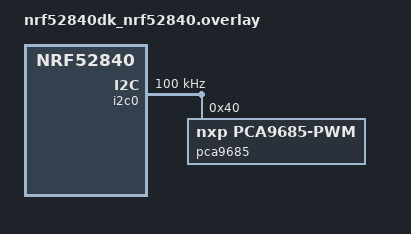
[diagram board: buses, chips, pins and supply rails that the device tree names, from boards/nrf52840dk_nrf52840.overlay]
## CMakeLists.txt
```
cmake_minimum_required(VERSION 3.20.0)

find_package(Zephyr REQUIRED HINTS $ENV{ZEPHYR_BASE})

project(spider)

target_include_directories(app PRIVATE include)
target_sources(app PRIVATE
	src/main.c
	src/kame_servo_cal.c
	src/kame_pose.c
	src/kame_motion.c
	src/spider_servo.c
	src/spider_control.c
	src/ble_remote.c
)
```

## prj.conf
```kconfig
CONFIG_GPIO=y
CONFIG_I2C=y
CONFIG_PWM=y

CONFIG_SERIAL=y
CONFIG_CONSOLE=y
CONFIG_UART_CONSOLE=y

# UART 交互 shell
CONFIG_SHELL=y
CONFIG_SHELL_BACKEND_SERIAL=y

CONFIG_LOG=y
CONFIG_PWM_LOG_LEVEL_INF=y

# BLE 遥控（SpiderBod）
CONFIG_BT=y
CONFIG_BT_PERIPHERAL=y
CONFIG_BT_DEVICE_NAME="SpiderBod"
CONFIG_BT_MAX_CONN=1
CONFIG_BT_GATT_DYNAMIC_DB=y
```

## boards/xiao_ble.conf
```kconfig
# XIAO BLE：板级 defconfig 已启用 USB；此处补充 CDC 控制台所需项
CONFIG_UART_LINE_CTRL=y
```

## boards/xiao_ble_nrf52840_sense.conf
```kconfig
# XIAO BLE Sense — 与 xiao_ble 相同
CONFIG_UART_LINE_CTRL=y
```

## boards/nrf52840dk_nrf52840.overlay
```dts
/*
 * spider: PCA9685 16 通道 PWM 驱动板挂载在 I2C0
 *
 * nRF52840 DK 的 i2c0 默认引脚即 P0.26 (SDA) / P0.27 (SCL)，
 * 与实际接线一致，无需重映射 pinctrl。
 * PCA9685 地址引脚 A0-A5 全接 GND => 0x40。
 */

&i2c0 {
	status = "okay";
	clock-frequency = <100000>;

	pca9685: pca9685@40 {
		compatible = "nxp,pca9685-pwm";
		reg = <0x40>;
		#pwm-cells = <2>;
		status = "okay";
	};
};
```

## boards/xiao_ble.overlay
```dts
/*
 * spider on Seeed XIAO BLE (nRF52840)
 *
 * PCA9685 挂在板载 I2C1（xiao_i2c = D4/D5）：
 *   D4 (SDA) = P0.4
 *   D5 (SCL) = P0.5
 *
 * 注意：P0.26 为板载红灯，勿作 I2C SDA。
 * PCA9685 地址 A0-A5 全接 GND => 0x40。
 * Shell 控制台走 USB CDC（Type-C），见 boards/xiao_ble.conf。
 */

&i2c1 {
	status = "okay";
	clock-frequency = <100000>;

	pca9685: pca9685@40 {
		compatible = "nxp,pca9685-pwm";
		reg = <0x40>;
		#pwm-cells = <2>;
		status = "okay";
	};
};
```

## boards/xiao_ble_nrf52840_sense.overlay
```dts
/*
 * spider on Seeed XIAO BLE Sense (nRF52840)
 *
 * I2C 引脚与 xiao_ble 相同：D4 (SDA)=P0.4, D5 (SCL)=P0.5。
 */

&i2c1 {
	status = "okay";
	clock-frequency = <100000>;

	pca9685: pca9685@40 {
		compatible = "nxp,pca9685-pwm";
		reg = <0x40>;
		#pwm-cells = <2>;
		status = "okay";
	};
};
```

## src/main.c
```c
/*
 * spider - 串口交互控制 PCA9685 舵机（多通道 + 平滑运动）+ BLE 遥控
 *
 * I2C 总线与引脚由板级 overlay 定义（DK: i2c0 P0.26/P0.27；XIAO: i2c1 D4/D5）。
 * PCA9685 地址 0x40。
 *
 * Shell 命令（DK: J-Link vcom 115200；XIAO: USB CDC，支持 Tab 补全）：
 *
 *   spider scan                     扫描 I2C 总线
 *   spider check [addr]             读 PCA9685 MODE1/MODE2 寄存器
 *   spider servo <ch> <us>          设通道脉宽（微秒）
 *   angle <ch> <deg>                设通道角度（0~180，顶层命令，无 spider 前缀）
 *   spider multi <ch:deg> ...       多通道同步设角度，如 spider multi 0:90 4:45
 *   spider all <deg>                所有已激活通道设同一角度
 *   spider move <ch> <deg> <ms>     在指定时长内匀速转到目标角度
 *   spider speed [deg_per_s]        查看/设置全局速度限制（0=瞬时）
 *   spider status                   显示各通道状态
 *   spider off <ch>                 关闭单通道
 *   spider offall                   关闭全部通道
 *   spider stand                    Kame 进入标准站姿（按标定表）
 *   spider splay [delta]            Kame 叉腿站立（前腿前/后腿后，默认 30°）
 *
 * Motion Framework 顶层命令（动作序列 + FSM，无前缀，便于串口输入）：
 *   stand / splay                   静态姿态
 *   lift <L1|R1|L2|R2>              抬腿并保持（先进 TRIPOD，静态）
 *   wave <L1|R1|L2|R2>              招手（循环；stop 恢复立正）
 *   front_down/rear_down/full_down  趴下
 *   forward/backward                行走（循环）
 *   turn_left/turn_right            弧线转向（循环）
 *   spin_left/spin_right            原地旋转（循环）
 *   nod / shake / roll              机身摆动（循环）
 *   speed [ms]                      查看/设置动作节拍 motion_step_delay_ms
 *   stop                            停止当前动作并恢复立正
 *
 * BLE：广播名 SpiderBod，GATT cmd 写入等价于上述动作/速度命令。
 */

#include <zephyr/kernel.h>
#include <zephyr/device.h>
#include <zephyr/devicetree.h>
#include <zephyr/drivers/i2c.h>
#include <zephyr/shell/shell.h>
#include <zephyr/sys/printk.h>
#include <stdlib.h>
#include <string.h>

#include "ble_remote.h"
#include "kame_servo_cal.h"
#include "kame_pose.h"
#include "kame_motion.h"
#include "spider_control.h"
#include "spider_servo.h"

#define KAME_SPLAY_DEFAULT_DEG 30U

#define PCA9685_DEFAULT_ADDR 0x40
#define PCA9685_REG_MODE1    0x00
#define PCA9685_REG_MODE2    0x01

#define MOTION_TICK_MS 20U

static const struct device *i2c_bus =
	DEVICE_DT_GET(DT_BUS(DT_NODELABEL(pca9685)));

static int servo_set_target_shell(const struct shell *sh, uint32_t ch,
				  uint32_t pulse_us, uint16_t step_us)
{
	if (!spider_servo_is_ready()) {
		shell_error(sh, "PCA9685 driver not ready（先 spider scan 排查，"
				"接好线后按 RESET）");
		return -ENODEV;
	}
	if (ch >= SPIDER_SERVO_CHANNEL_CNT) {
		shell_error(sh, "channel %u out of range (0~15)", ch);
		return -EINVAL;
	}

	int ret = spider_servo_set_target(ch, pulse_us, step_us);

	if (ret != 0) {
		shell_error(sh, "pwm_set failed: %d", ret);
	} else {
		shell_print(sh, "ch%u -> %u us (%u deg)%s", ch, pulse_us,
			    spider_servo_us_to_deg(pulse_us),
			    step_us ? "" : " [instant]");
	}
	return ret;
}

static int servo_off_shell(const struct shell *sh, uint32_t ch)
{
	int ret;

	if (ch >= SPIDER_SERVO_CHANNEL_CNT) {
		shell_error(sh, "channel %u out of range (0~15)", ch);
		return -EINVAL;
	}

	ret = spider_servo_off(ch);
	if (ret != 0) {
		shell_error(sh, "pwm_set failed: %d", ret);
	} else {
		shell_print(sh, "ch%u off", ch);
	}
	return ret;
}

/* ---------------- I2C 诊断命令 ---------------- */

static bool i2c_addr_present(uint8_t addr)
{
	uint8_t dummy;

	return i2c_read(i2c_bus, &dummy, 1, addr) == 0;
}

static int cmd_scan(const struct shell *sh, size_t argc, char **argv)
{
	int found = 0;

	ARG_UNUSED(argc);
	ARG_UNUSED(argv);

	if (!device_is_ready(i2c_bus)) {
		shell_error(sh, "I2C bus not ready");
		return -ENODEV;
	}

	shell_print(sh, "Scanning I2C (%s) 0x03..0x77 ...", i2c_bus->name);
	shell_print(sh, "     0  1  2  3  4  5  6  7  8  9  a  b  c  d  e  f");

	for (uint8_t base = 0; base <= 0x70; base += 16) {
		char line[64];
		int pos = snprintf(line, sizeof(line), "%02x:", base);

		for (uint8_t off = 0; off < 16; off++) {
			uint8_t addr = base + off;

			if (addr < 0x03 || addr > 0x77) {
				pos += snprintf(line + pos, sizeof(line) - pos, "   ");
			} else if (i2c_addr_present(addr)) {
				pos += snprintf(line + pos, sizeof(line) - pos, " %02x", addr);
				found++;
			} else {
				pos += snprintf(line + pos, sizeof(line) - pos, " --");
			}
		}
		shell_print(sh, "%s", line);
	}

	if (found == 0) {
		shell_warn(sh, "No I2C device found!");
	} else {
		shell_print(sh, "Found %d device(s).%s", found,
			    i2c_addr_present(PCA9685_DEFAULT_ADDR) ?
			    " PCA9685 @0x40 online." : "");
	}
	return 0;
}

static int cmd_check(const struct shell *sh, size_t argc, char **argv)
{
	uint8_t addr = PCA9685_DEFAULT_ADDR;
	uint8_t mode1, mode2, reg;
	int ret;

	if (argc > 1) {
		addr = (uint8_t)strtoul(argv[1], NULL, 0);
	}

	reg = PCA9685_REG_MODE1;
	ret = i2c_write_read(i2c_bus, addr, &reg, 1, &mode1, 1);
	if (ret != 0) {
		shell_error(sh, "Read MODE1 @0x%02x failed: %d", addr, ret);
		return ret;
	}
	reg = PCA9685_REG_MODE2;
	ret = i2c_write_read(i2c_bus, addr, &reg, 1, &mode2, 1);
	if (ret != 0) {
		shell_error(sh, "Read MODE2 @0x%02x failed: %d", addr, ret);
		return ret;
	}

	shell_print(sh, "PCA9685 @0x%02x: MODE1=0x%02x MODE2=0x%02x", addr, mode1, mode2);
	shell_print(sh, "  AI=%d SLEEP=%d RESTART=%d | OUTDRV=%s",
		    !!(mode1 & BIT(5)), !!(mode1 & BIT(4)), !!(mode1 & BIT(7)),
		    (mode2 & BIT(2)) ? "totem-pole" : "open-drain");
	return 0;
}

/* ---------------- 舵机命令 ---------------- */

static int cmd_servo(const struct shell *sh, size_t argc, char **argv)
{
	uint32_t ch = strtoul(argv[1], NULL, 0);
	uint32_t us = strtoul(argv[2], NULL, 0);

	return servo_set_target_shell(sh, ch, us, spider_servo_speed_to_step());
}

static int cmd_angle(const struct shell *sh, size_t argc, char **argv)
{
	uint32_t ch = strtoul(argv[1], NULL, 0);
	uint32_t deg = strtoul(argv[2], NULL, 0);

	if (deg > 180) {
		shell_error(sh, "angle %u out of range (0~180)", deg);
		return -EINVAL;
	}
	return servo_set_target_shell(sh, ch, spider_servo_deg_to_us(deg),
				      spider_servo_speed_to_step());
}

static int cmd_multi(const struct shell *sh, size_t argc, char **argv)
{
	int ret = 0;

	for (size_t i = 1; i < argc; i++) {
		char *colon = strchr(argv[i], ':');

		if (colon == NULL) {
			shell_error(sh, "bad arg '%s' (expect <ch>:<deg>)", argv[i]);
			return -EINVAL;
		}

		uint32_t ch = strtoul(argv[i], NULL, 0);
		uint32_t deg = strtoul(colon + 1, NULL, 0);

		if (deg > 180) {
			shell_error(sh, "angle %u out of range (0~180)", deg);
			return -EINVAL;
		}

		ret = servo_set_target_shell(sh, ch, spider_servo_deg_to_us(deg),
					     spider_servo_speed_to_step());
		if (ret != 0) {
			break;
		}
	}
	return ret;
}

static int cmd_all(const struct shell *sh, size_t argc, char **argv)
{
	uint32_t deg = strtoul(argv[1], NULL, 0);
	int count = 0;
	struct spider_servo_chan_state st;

	if (deg > 180) {
		shell_error(sh, "angle %u out of range (0~180)", deg);
		return -EINVAL;
	}

	for (uint32_t ch = 0; ch < SPIDER_SERVO_CHANNEL_CNT; ch++) {
		if (spider_servo_get_chan(ch, &st) && st.active) {
			servo_set_target_shell(sh, ch, spider_servo_deg_to_us(deg),
					       spider_servo_speed_to_step());
			count++;
		}
	}
	if (count == 0) {
		shell_warn(sh, "no active channel yet (use angle/servo first)");
	}
	return 0;
}

static int cmd_move(const struct shell *sh, size_t argc, char **argv)
{
	uint32_t ch = strtoul(argv[1], NULL, 0);
	uint32_t deg = strtoul(argv[2], NULL, 0);
	uint32_t ms = strtoul(argv[3], NULL, 0);
	struct spider_servo_chan_state st;

	if (deg > 180) {
		shell_error(sh, "angle %u out of range (0~180)", deg);
		return -EINVAL;
	}
	if (ch >= SPIDER_SERVO_CHANNEL_CNT) {
		shell_error(sh, "channel %u out of range (0~15)", ch);
		return -EINVAL;
	}

	uint32_t tgt = spider_servo_deg_to_us(deg);
	uint16_t step = 0;

	if (ms >= MOTION_TICK_MS && spider_servo_get_chan(ch, &st) && st.active) {
		uint32_t ticks = ms / MOTION_TICK_MS;
		uint32_t dist = (st.cur_us > tgt) ? st.cur_us - tgt : tgt - st.cur_us;

		step = MAX(DIV_ROUND_UP(dist, ticks), 1U);
	}
	return servo_set_target_shell(sh, ch, tgt, step);
}

static int cmd_speed(const struct shell *sh, size_t argc, char **argv)
{
	uint32_t speed = spider_control_get_servo_speed_deg_s();

	if (argc > 1) {
		speed = strtoul(argv[1], NULL, 0);
		spider_control_set_servo_speed_deg_s(speed);
	}
	if (speed == 0) {
		shell_print(sh, "speed: instant");
	} else {
		shell_print(sh, "speed: %u deg/s", speed);
	}
	return 0;
}

static int cmd_status(const struct shell *sh, size_t argc, char **argv)
{
	int count = 0;
	uint32_t speed = spider_control_get_servo_speed_deg_s();

	ARG_UNUSED(argc);
	ARG_UNUSED(argv);

	shell_print(sh, "PCA9685 driver: %s | speed: %u deg/s%s",
		    spider_servo_is_ready() ? "ready" : "NOT READY",
		    speed, speed == 0 ? " (instant)" : "");

	for (uint32_t ch = 0; ch < SPIDER_SERVO_CHANNEL_CNT; ch++) {
		struct spider_servo_chan_state c;

		if (!spider_servo_get_chan(ch, &c) || !c.active) {
			continue;
		}
		shell_print(sh, "  ch%-2u cur=%4u us (%3u deg)  tgt=%4u us (%3u deg)%s",
			    ch, c.cur_us, spider_servo_us_to_deg(c.cur_us),
			    c.tgt_us, spider_servo_us_to_deg(c.tgt_us),
			    c.moving ? "  [moving]" : "");
		count++;
	}
	if (count == 0) {
		shell_print(sh, "  (no active channel)");
	}
	return 0;
}

static int cmd_off(const struct shell *sh, size_t argc, char **argv)
{
	return servo_off_shell(sh, strtoul(argv[1], NULL, 0));
}

static int cmd_offall(const struct shell *sh, size_t argc, char **argv)
{
	struct spider_servo_chan_state st;

	ARG_UNUSED(argc);
	ARG_UNUSED(argv);

	for (uint32_t ch = 0; ch < SPIDER_SERVO_CHANNEL_CNT; ch++) {
		if (spider_servo_get_chan(ch, &st) && st.active) {
			servo_off_shell(sh, ch);
		}
	}
	return 0;
}

/* ---------------- Kame 整机姿态命令 ---------------- */

static int kame_apply_pose(const struct shell *sh, bool splay, uint8_t delta)
{
	if (!spider_servo_is_ready()) {
		shell_error(sh, "PCA9685 driver not ready（先 spider scan 排查，"
				"接好线后按 RESET）");
		return -ENODEV;
	}

	uint16_t step = spider_servo_speed_to_step();

	for (size_t i = 0; i < KAME_SERVO_COUNT; i++) {
		const struct kame_servo_cal *s = &kame_servos[i];
		uint8_t deg = splay ? kame_servo_splay_deg((kame_servo_id_t)i, delta)
				    : s->stand_deg;

		servo_set_target_shell(sh, s->ch, spider_servo_deg_to_us(deg), step);
	}
	return 0;
}

static int cmd_stand(const struct shell *sh, size_t argc, char **argv)
{
	ARG_UNUSED(argc);
	ARG_UNUSED(argv);

	shell_print(sh, "Kame -> 标准站姿");
	return kame_apply_pose(sh, false, 0);
}

static int cmd_splay(const struct shell *sh, size_t argc, char **argv)
{
	uint32_t delta = KAME_SPLAY_DEFAULT_DEG;

	if (argc > 1) {
		delta = strtoul(argv[1], NULL, 0);
		if (delta > 90) {
			shell_error(sh, "delta %u out of range (0~90)", delta);
			return -EINVAL;
		}
	}

	shell_print(sh, "Kame -> 叉腿站立（前腿前 / 后腿后，髋 ±%u°）", delta);
	return kame_apply_pose(sh, true, (uint8_t)delta);
}

/* ---------------- Motion Framework 命令 ---------------- */

static int cmd_motion_speed(const struct shell *sh, size_t argc, char **argv)
{
	if (argc > 1) {
		uint32_t ms = strtoul(argv[1], NULL, 0);

		if (ms == 0) {
			shell_error(sh, "delay must be > 0 ms");
			return -EINVAL;
		}
		spider_control_set_motion_delay_ms(ms);
	}
	shell_print(sh, "motion_step_delay_ms = %u",
		    spider_control_get_motion_delay_ms());
	return 0;
}

static int cmd_motion_stop(const struct shell *sh, size_t argc, char **argv)
{
	ARG_UNUSED(argc);
	ARG_UNUSED(argv);

	spider_control_stop();
	shell_print(sh, "stop -> stand");
	return 0;
}

static int cmd_motion_run(const struct shell *sh, size_t argc, char **argv)
{
	kame_motion_id_t id = kame_motion_from_name(argv[0]);

	if (id == KAME_MOTION_NONE) {
		shell_error(sh, "unknown motion '%s'", argv[0]);
		return -EINVAL;
	}

	kame_leg_id_t leg = KAME_LEG_NONE;

	if (kame_motion_needs_leg(id)) {
		if (argc < 2) {
			shell_error(sh, "'%s' needs leg arg: L1/R1/L2/R2", argv[0]);
			return -EINVAL;
		}
		leg = kame_leg_from_name(argv[1]);
		if (leg == KAME_LEG_NONE) {
			shell_error(sh, "bad leg '%s' (expect L1/R1/L2/R2)", argv[1]);
			return -EINVAL;
		}
	}

	spider_control_motion(id, leg);

	if (leg != KAME_LEG_NONE) {
		shell_print(sh, "motion -> %s %s%s", argv[0],
			    kame_legs[leg].name,
			    kame_motion_is_cyclic(id) ? " (cyclic)" : "");
	} else {
		shell_print(sh, "motion -> %s%s", argv[0],
			    kame_motion_is_cyclic(id) ? " (cyclic)" : "");
	}
	return 0;
}

SHELL_CMD_ARG_REGISTER(speed, NULL,
	"动作节拍(ms)\nUsage: speed [ms]", cmd_motion_speed, 1, 1);
SHELL_CMD_ARG_REGISTER(stop, NULL,
	"停止并恢复立正\nUsage: stop", cmd_motion_stop, 1, 0);
SHELL_CMD_ARG_REGISTER(stand, NULL, "站立", cmd_motion_run, 1, 0);
SHELL_CMD_ARG_REGISTER(splay, NULL, "叉腿站立", cmd_motion_run, 1, 0);
SHELL_CMD_ARG_REGISTER(lift, NULL,
	"抬腿并保持(先进三脚架)\nUsage: lift <L1|R1|L2|R2>",
	cmd_motion_run, 1, 1);
SHELL_CMD_ARG_REGISTER(front_down, NULL, "前身趴下", cmd_motion_run, 1, 0);
SHELL_CMD_ARG_REGISTER(rear_down, NULL, "后身趴下", cmd_motion_run, 1, 0);
SHELL_CMD_ARG_REGISTER(full_down, NULL, "整体趴下", cmd_motion_run, 1, 0);
SHELL_CMD_ARG_REGISTER(forward, NULL, "前进(循环)", cmd_motion_run, 1, 0);
SHELL_CMD_ARG_REGISTER(backward, NULL, "后退(循环)", cmd_motion_run, 1, 0);
SHELL_CMD_ARG_REGISTER(turn_left, NULL, "弧线左转(循环)", cmd_motion_run, 1, 0);
SHELL_CMD_ARG_REGISTER(turn_right, NULL, "弧线右转(循环)", cmd_motion_run, 1, 0);
SHELL_CMD_ARG_REGISTER(spin_left, NULL, "原地左旋(循环)", cmd_motion_run, 1, 0);
SHELL_CMD_ARG_REGISTER(spin_right, NULL, "原地右旋(循环)", cmd_motion_run, 1, 0);
SHELL_CMD_ARG_REGISTER(nod, NULL, "点头(循环)", cmd_motion_run, 1, 0);
SHELL_CMD_ARG_REGISTER(shake, NULL, "摇头(循环)", cmd_motion_run, 1, 0);
SHELL_CMD_ARG_REGISTER(roll, NULL, "横滚摆动(循环)", cmd_motion_run, 1, 0);
SHELL_CMD_ARG_REGISTER(wave, NULL,
	"招手(循环,先进三脚架; stop 恢复立正)\nUsage: wave <L1|R1|L2|R2>",
	cmd_motion_run, 1, 1);

SHELL_CMD_ARG_REGISTER(angle, NULL,
	"设通道角度\nUsage: angle <ch 0-15> <deg 0-180>",
	cmd_angle, 3, 0);

SHELL_STATIC_SUBCMD_SET_CREATE(spider_cmds,
	SHELL_CMD_ARG(scan, NULL,
		"扫描 PCA9685 所在 I2C 总线\nUsage: spider scan",
		cmd_scan, 1, 0),
	SHELL_CMD_ARG(check, NULL,
		"读 PCA9685 MODE 寄存器\nUsage: spider check [addr]",
		cmd_check, 1, 1),
	SHELL_CMD_ARG(servo, NULL,
		"设通道脉宽(us)\nUsage: spider servo <ch 0-15> <pulse_us>",
		cmd_servo, 3, 0),
	SHELL_CMD_ARG(multi, NULL,
		"多通道同步设角度\nUsage: spider multi <ch:deg> [<ch:deg> ...]\n"
		"e.g. spider multi 0:90 4:45",
		cmd_multi, 2, SPIDER_SERVO_CHANNEL_CNT - 1),
	SHELL_CMD_ARG(all, NULL,
		"所有已激活通道设同一角度\nUsage: spider all <deg 0-180>",
		cmd_all, 2, 0),
	SHELL_CMD_ARG(move, NULL,
		"指定时长匀速转动\nUsage: spider move <ch> <deg> <time_ms>",
		cmd_move, 4, 0),
	SHELL_CMD_ARG(speed, NULL,
		"查看/设置速度限制(度/秒, 0=瞬时)\nUsage: spider speed [deg_per_s]",
		cmd_speed, 1, 1),
	SHELL_CMD_ARG(status, NULL,
		"显示各通道状态\nUsage: spider status",
		cmd_status, 1, 0),
	SHELL_CMD_ARG(off, NULL,
		"关闭单通道\nUsage: spider off <ch 0-15>",
		cmd_off, 2, 0),
	SHELL_CMD_ARG(offall, NULL,
		"关闭全部通道\nUsage: spider offall",
		cmd_offall, 1, 0),
	SHELL_CMD_ARG(stand, NULL,
		"进入标准站姿(按标定表)\nUsage: spider stand",
		cmd_stand, 1, 0),
	SHELL_CMD_ARG(splay, NULL,
		"叉腿站立(前腿前/后腿后)\nUsage: spider splay [delta 0-90, 默认30]",
		cmd_splay, 1, 1),
	SHELL_SUBCMD_SET_END
);
SHELL_CMD_REGISTER(spider, &spider_cmds, "PCA9685 舵机控制命令", NULL);

int main(void)
{
	printk("\n*** spider: PCA9685 interactive servo console ***\n");
	printk("I2C bus %s, expecting PCA9685 @0x40\n", i2c_bus->name);

	if (!device_is_ready(i2c_bus)) {
		printk("ERROR: I2C bus not ready!\n");
		return 0;
	}

	if (spider_servo_is_ready()) {
		printk("PCA9685 driver ready.\n");
		spider_control_motion(KAME_MOTION_STAND, KAME_LEG_NONE);
		printk("Boot reset: Kame -> 标准站姿 (stand).\n");
	} else {
		printk("WARN: PCA9685 not detected at boot. "
		       "Use 'spider scan' to debug wiring.\n");
	}

	if (spider_ble_init() != 0) {
		printk("WARN: BLE init failed.\n");
	}

	printk("Type 'spider help' or press Tab to list commands.\n");
	return 0;
}
```

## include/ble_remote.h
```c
/*
 * spider BLE 遥控 Peripheral（GATT + 广播 SpiderBod）
 */

#ifndef BLE_REMOTE_H
#define BLE_REMOTE_H

/** 初始化蓝牙栈、注册 GATT、开始可连接广播 */
int spider_ble_init(void);

#endif /* BLE_REMOTE_H */
```

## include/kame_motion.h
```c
/*
 * Kame 四足机器人 — Motion Framework（动作序列 + 状态机）
 *
 * 架构（不追求实时步态 / 不用 IK / 不做轨迹规划）：
 *
 *   - 每个 Motion 由若干 Step 组成；每个 Step 输出一个整机 Pose。
 *   - FSM 后台线程每隔 motion_step_delay_ms（默认 500ms）推进一个 Step：
 *       构建该 Step 的 Pose -> kame_pose_apply() 下发。
 *   - 同一时刻只运行一个 Motion；收到新 Motion 立即切换（打断当前）。
 *   - 静态动作：跑完全部 Step 后停在末态。
 *   - 循环动作：跑完后回到 Step0 反复执行，直到被切换/停止。
 *
 * 生命周期钩子（见 kame_motion.c 中 FSM 线程）：
 *   motion_enter()  进入某 Motion 时复位 step=0
 *   motion_step()   执行当前 Step 并推进
 *   motion_exit()   切换/停止时收尾
 */

#ifndef KAME_MOTION_H
#define KAME_MOTION_H

#include <stdbool.h>
#include <stdint.h>

#include "kame_pose.h"

/* ------------------------------------------------------------------ */
/* 统一 Motion 枚举                                                    */
/* ------------------------------------------------------------------ */

typedef enum {
	/* --- 静态动作 --- */
	KAME_MOTION_STAND = 0,
	KAME_MOTION_SPLAY,
	KAME_MOTION_LIFT_LEG,   /* 需腿参数 L1/R1/L2/R2 */
	KAME_MOTION_FRONT_DOWN,
	KAME_MOTION_REAR_DOWN,
	KAME_MOTION_FULL_DOWN,

	/* --- 循环动作 --- */
	KAME_MOTION_FORWARD,
	KAME_MOTION_BACKWARD,
	KAME_MOTION_TURN_LEFT,
	KAME_MOTION_TURN_RIGHT,
	KAME_MOTION_SPIN_LEFT,
	KAME_MOTION_SPIN_RIGHT,
	KAME_MOTION_NOD,
	KAME_MOTION_SHAKE,
	KAME_MOTION_ROLL,
	KAME_MOTION_WAVE,       /* 需腿参数 L1/R1/L2/R2 */

	KAME_MOTION_COUNT,
	KAME_MOTION_NONE = 0xFF,
} kame_motion_id_t;

/* motion_step_delay_ms 默认节拍 */
#define KAME_MOTION_DEFAULT_DELAY_MS 500U

/* ------------------------------------------------------------------ */
/* 控制 API                                                            */
/* ------------------------------------------------------------------ */

/** 请求执行某 Motion（打断并替换当前 Motion）。leg 仅对需要腿参数的动作有效。 */
void kame_motion_request(kame_motion_id_t id, kame_leg_id_t leg);

/** 停止当前 Motion（停在当前姿态，不再推进）。 */
void kame_motion_stop(void);

/** 设置/读取全局动作节拍 motion_step_delay_ms。 */
void kame_motion_set_delay(uint32_t ms);
uint32_t kame_motion_get_delay(void);

/* ------------------------------------------------------------------ */
/* 查询（供 shell 命令解析使用）                                       */
/* ------------------------------------------------------------------ */

/** Motion 名称（小写，如 "lift"）。 */
const char *kame_motion_name(kame_motion_id_t id);

/** 由名称解析 Motion id；失败返回 KAME_MOTION_NONE。 */
kame_motion_id_t kame_motion_from_name(const char *name);

/** 该 Motion 是否需要腿参数（lift / wave）。 */
bool kame_motion_needs_leg(kame_motion_id_t id);

/** 该 Motion 是否为循环动作。 */
bool kame_motion_is_cyclic(kame_motion_id_t id);

#endif /* KAME_MOTION_H */
```

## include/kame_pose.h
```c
/*
 * Kame 四足机器人 — Pose（静态姿态）抽象层
 *
 * 设计原则：
 *   - 不使用 IK / 不做轨迹规划；姿态由「每个舵机的目标角度」直接描述。
 *   - 动作代码禁止出现 PCA9685 通道号；一律通过 servo_id / leg_id 访问。
 *   - 单腿动作（lift / wave）执行前必须先进入对应 TRIPOD 三脚架姿态，
 *     由其余三条腿调整重心形成稳定支撑后再抬腿。
 *
 * 一个 Pose = 8 个舵机的目标角度数组（按 kame_servo_id_t 索引）。
 * 后端（main.c）通过 kame_servo_apply() 把角度平滑下发到 PCA9685。
 */

#ifndef KAME_POSE_H
#define KAME_POSE_H

#include <stdbool.h>
#include <stdint.h>

#include "kame_servo_cal.h"

/* ------------------------------------------------------------------ */
/* 腿抽象：leg_id -> (hip servo_id, knee servo_id)                      */
/* ------------------------------------------------------------------ */

typedef enum {
	KAME_LEG_L1 = 0, /* 前左 */
	KAME_LEG_R1,     /* 前右 */
	KAME_LEG_L2,     /* 后左 */
	KAME_LEG_R2,     /* 后右 */
	KAME_LEG_COUNT,
	KAME_LEG_NONE = 0xFF,
} kame_leg_id_t;

struct kame_leg_map {
	const char *name;        /* "L1"/"R1"/"L2"/"R2" */
	kame_servo_id_t hip;     /* 髋关节 servo_id */
	kame_servo_id_t knee;    /* 腿(膝)关节 servo_id */
	bool is_front;           /* true=前腿(L1/R1) */
	bool is_left;            /* true=左腿(L1/L2) */
};

extern const struct kame_leg_map kame_legs[KAME_LEG_COUNT];

/** 按 leg_id 取腿映射，非法返回 NULL */
const struct kame_leg_map *kame_leg_get(kame_leg_id_t leg);

/** 解析腿名("L1"/"R1"/"L2"/"R2"，大小写不敏感)，失败返回 KAME_LEG_NONE */
kame_leg_id_t kame_leg_from_name(const char *s);

/* ------------------------------------------------------------------ */
/* Pose 数据结构                                                       */
/* ------------------------------------------------------------------ */

/** 该舵机本步不动（保持当前角度） */
#define KAME_POSE_KEEP 0xFFU

typedef struct {
	uint8_t deg[KAME_SERVO_COUNT]; /* 按 kame_servo_id_t 索引；KEEP=不动 */
} kame_pose_t;

/* ------------------------------------------------------------------ */
/* 可调参数（在硬件上微调；不写死通道号）                              */
/* ------------------------------------------------------------------ */

#define KAME_SPLAY_DELTA_DEG   30 /* 叉腿髋偏移 */
/*
 * 三脚架：支撑腿髋关节平移机身重心离开抬起腿。
 * 注意防撞——抬某腿时其同侧另一腿会向该腿方向平移本量，二者「靠拢量」≈本值。
 * 实测同侧前后腿碰撞阈值约 35°(左)/40°(右)，故取 20° 留 ~15° 余量。
 */
#define KAME_TRIPOD_HIP_DEG    25 /* 三脚架：支撑腿髋关节调整，把机身重心移离抬起腿 */
#define KAME_TRIPOD_LEAN_DEG   25 /* 三脚架：对侧压腿+同侧收腿，横向把重心推入支撑三角 */
#define KAME_LIFT_KNEE_DEG     75 /* 抬腿：目标腿膝关节向最高方向偏移 */
#define KAME_WAVE_KNEE_DEG     50 /* 招手：目标腿膝关节自最高端向下回落的摆幅 */
#define KAME_DOWN_KNEE_DEG     45 /* 趴下：相关腿膝关节收起幅度 */

/* ------------------------------------------------------------------ */
/* 静态姿态 ID（无参数，整机姿态）                                     */
/* ------------------------------------------------------------------ */

typedef enum {
	KAME_POSE_STAND = 0,
	KAME_POSE_SPLAY,
	KAME_POSE_FRONT_DOWN,
	KAME_POSE_REAR_DOWN,
	KAME_POSE_FULL_DOWN,
	KAME_POSE_ID_COUNT,
} kame_pose_id_t;

/* ---- 整机静态姿态构建 ---- */
void kame_pose_stand(kame_pose_t *out);
void kame_pose_splay(uint8_t delta, kame_pose_t *out);
void kame_pose_front_down(kame_pose_t *out);
void kame_pose_rear_down(kame_pose_t *out);
void kame_pose_full_down(kame_pose_t *out);

/** 通过 pose_id 分发到上面对应的构建函数 */
void kame_pose_build(kame_pose_id_t id, kame_pose_t *out);

/* ---- 单腿动作复用姿态 ---- */

/**
 * 三脚架姿态：抬 lift_leg 前，其余三条腿调整髋/膝把重心移入支撑三角
 * （远离 lift_leg）。lift_leg 本身保持站立角（尚未抬起）。
 */
void kame_pose_tripod(kame_leg_id_t lift_leg, kame_pose_t *out);

/**
 * 抬腿姿态：在 kame_pose_tripod(lift_leg) 基础上，把 lift_leg 的膝关节抬起。
 */
void kame_pose_lift(kame_leg_id_t lift_leg, kame_pose_t *out);

/* ------------------------------------------------------------------ */
/* 下发                                                                */
/* ------------------------------------------------------------------ */

/** 逐舵机下发 pose（KEEP 跳过）。底层平滑移动由后端按全局速度处理。 */
void kame_pose_apply(const kame_pose_t *p);

/**
 * 舵机后端钩子，由 main.c 实现：
 * 把 servo_id 对应舵机按全局速度平滑移动到 deg（内部完成 id->通道、角度钳位）。
 */
int kame_servo_apply(kame_servo_id_t id, uint8_t deg);

#endif /* KAME_POSE_H */
```

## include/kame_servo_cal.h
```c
/*
 * Kame 四足机器人 — 8 路舵机标定参数
 *
 * 机器可读的配置源；说明文档见 docs/kame-servo-calibration.md
 * PCA9685 通道映射见 kame_servo_cal.c 中各条目的 ch 字段。
 */

#ifndef KAME_SERVO_CAL_H
#define KAME_SERVO_CAL_H

#include <stdint.h>

#define KAME_SERVO_COUNT 8U

/** 未分配 PCA9685 通道时的占位值 */
#define KAME_SERVO_CH_UNASSIGNED 0xFFU

/**
 * 腿关节：0° 端点语义（R1 与其余三条腿相反）
 * 髋关节：角度增大时的行进方向（R 侧向前，L 侧向后）
 * 关节类型 / 腿位：供姿态生成（站立、叉腿）按前后腿、髋膝区分处理
 */
#define KAME_SERVO_F_KNEE_0_BELLY     (1U << 0)
#define KAME_SERVO_F_HIP_INC_BACKWARD (1U << 1)
#define KAME_SERVO_F_HIP             (1U << 2) /**< 置位=髋关节，否则为腿(膝)关节 */
#define KAME_SERVO_F_FRONT           (1U << 3) /**< 置位=前腿(R1/L1)，否则后腿(R2/L2) */

typedef enum {
	KAME_SERVO_R1_KNEE = 0,
	KAME_SERVO_R1_HIP,
	KAME_SERVO_R2_HIP,
	KAME_SERVO_R2_KNEE,
	KAME_SERVO_L1_HIP,
	KAME_SERVO_L1_KNEE,
	KAME_SERVO_L2_HIP,
	KAME_SERVO_L2_KNEE,
} kame_servo_id_t;

struct kame_servo_cal {
	const char *label; /**< 日志/调试用，如 "R1/knee" */
	uint8_t ch;        /**< PCA9685 通道 0~15 */
	uint8_t min_deg;
	uint8_t max_deg;
	uint8_t stand_deg;
	uint8_t flags;
};

extern const struct kame_servo_cal kame_servos[KAME_SERVO_COUNT];

/** 按 id 取标定条目，id 非法时返回 NULL */
const struct kame_servo_cal *kame_servo_get(kame_servo_id_t id);

/** 将角度钳位到该舵机有效范围 */
uint8_t kame_servo_clamp(kame_servo_id_t id, uint8_t deg);

/**
 * 叉腿站立姿态角度：腿关节保持站立标定值不变；
 * 髋关节在站立值基础上，前腿(R1/L1)向前、后腿(R2/L2)向后偏移 delta_deg，
 * 自动按各舵机方向（KAME_SERVO_F_HIP_INC_BACKWARD）取号并钳位到有效范围。
 */
uint8_t kame_servo_splay_deg(kame_servo_id_t id, uint8_t delta_deg);

/**
 * 髋关节定向偏移：以站立标定角为基准，向「爪子向前」方向偏移 delta_forward 度
 * （可为负，负值即向后）。按各髋舵机的角度方向（KAME_SERVO_F_HIP_INC_BACKWARD）
 * 自动取号并钳位。传入非髋关节（腿关节）时原样返回其站立标定角。
 */
uint8_t kame_servo_hip_forward_deg(kame_servo_id_t id, int delta_forward);

/**
 * 腿(膝)关节定向偏移：以站立标定角为基准，向「抬爪最高」方向偏移 delta_up 度
 * （可为负，负值即向收爪/腹下方向）。R1 膝(0°=最高)与其余三腿(180°=最高)方向相反，
 * 由 KAME_SERVO_F_KNEE_0_BELLY 自动取号并钳位。传入非腿关节（髋）时原样返回站立角。
 */
uint8_t kame_servo_knee_up_deg(kame_servo_id_t id, int delta_up);

/**
 * 腿(膝)关节贴近「最高点」：以该膝舵机能抬到的最高物理端为基准，
 * 向下回落 delta_below 度（delta_below>=0）。最高端按 KAME_SERVO_F_KNEE_0_BELLY
 * 自动判定：0°=腹下的腿(R2/L1)最高端=max_deg，0°=最高的腿(R1/L2)最高端=min_deg。
 * 结果自动钳位到有效范围。传入非腿关节（髋）时原样返回站立角。
 */
uint8_t kame_servo_knee_top_deg(kame_servo_id_t id, int delta_below);

#endif /* KAME_SERVO_CAL_H */
```

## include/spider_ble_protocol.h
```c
/*
 * spider BLE 遥控协议常量（与 iOS SpiderBLEConstants.swift 对齐）
 *
 * Motion / Leg ID 直接使用 kame_motion.h / kame_pose.h 枚举值，此处不重复定义。
 */

#ifndef SPIDER_BLE_PROTOCOL_H
#define SPIDER_BLE_PROTOCOL_H

#include <zephyr/bluetooth/uuid.h>

/* Service: A0010001-0000-1000-8000-00805F9B34FB */
#define SPIDER_BLE_SVC_UUID_VAL \
	BT_UUID_128_ENCODE(0xA0010001, 0x0000, 0x1000, 0x8000, 0x00805F9B34FB)

/* Characteristic cmd: A0010002-0000-1000-8000-00805F9B34FB */
#define SPIDER_BLE_CHR_CMD_UUID_VAL \
	BT_UUID_128_ENCODE(0xA0010002, 0x0000, 0x1000, 0x8000, 0x00805F9B34FB)

#define SPIDER_BLE_SVC_UUID    BT_UUID_DECLARE_128(SPIDER_BLE_SVC_UUID_VAL)
#define SPIDER_BLE_CHR_CMD_UUID BT_UUID_DECLARE_128(SPIDER_BLE_CHR_CMD_UUID_VAL)

#define SPIDER_BLE_OP_MOTION            0x01U
#define SPIDER_BLE_OP_STOP              0x02U
#define SPIDER_BLE_OP_SET_MOTION_DELAY  0x10U
#define SPIDER_BLE_OP_SET_SERVO_SPEED   0x11U

#define SPIDER_BLE_LEG_NONE  0xFFU

#define SPIDER_BLE_MOTION_DELAY_MIN_MS  100U
#define SPIDER_BLE_MOTION_DELAY_MAX_MS  2000U
#define SPIDER_BLE_SERVO_SPEED_MAX_DEG_S 600U

#endif /* SPIDER_BLE_PROTOCOL_H */
```

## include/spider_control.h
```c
/*
 * spider 统一命令分发（Shell 与 BLE 汇合点）
 */

#ifndef SPIDER_CONTROL_H
#define SPIDER_CONTROL_H

#include <stddef.h>
#include <stdint.h>

#include "kame_motion.h"

int spider_control_motion(kame_motion_id_t id, kame_leg_id_t leg);
int spider_control_stop(void);

int spider_control_set_motion_delay_ms(uint32_t ms);
uint32_t spider_control_get_motion_delay_ms(void);

int spider_control_set_servo_speed_deg_s(uint32_t deg_s);
uint32_t spider_control_get_servo_speed_deg_s(void);

/** 解析并执行一帧 BLE 载荷；非法帧静默丢弃，成功返回 0 */
int spider_control_ble_frame(const uint8_t *data, size_t len);

#endif /* SPIDER_CONTROL_H */
```

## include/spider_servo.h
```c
/*
 * spider 舵机后端：PCA9685 插值引擎 + 全局转速
 */

#ifndef SPIDER_SERVO_H
#define SPIDER_SERVO_H

#include <stdbool.h>
#include <stdint.h>

#include "kame_pose.h"

#define SPIDER_SERVO_CHANNEL_CNT       16U
#define SPIDER_SERVO_SPEED_DEFAULT_DEG_S 240U

struct spider_servo_chan_state {
	bool active;
	uint16_t cur_us;
	uint16_t tgt_us;
	bool moving;
};

uint32_t spider_servo_get_speed_deg_s(void);
void spider_servo_set_speed_deg_s(uint32_t deg_s);
uint16_t spider_servo_speed_to_step(void);

uint32_t spider_servo_deg_to_us(uint32_t deg);
uint32_t spider_servo_us_to_deg(uint32_t us);

int spider_servo_apply_us(uint32_t ch, uint32_t pulse_us, uint16_t step_us);

/** 手动命令路径：先 kame_motion_stop()，再设置目标 */
int spider_servo_set_target(uint32_t ch, uint32_t pulse_us, uint16_t step_us);

int spider_servo_off(uint32_t ch);

bool spider_servo_is_ready(void);
bool spider_servo_get_chan(uint32_t ch, struct spider_servo_chan_state *out);

#endif /* SPIDER_SERVO_H */
```

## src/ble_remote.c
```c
/*
 * spider BLE 遥控：Peripheral + GATT cmd characteristic
 */

#include <zephyr/bluetooth/bluetooth.h>
#include <zephyr/bluetooth/gatt.h>
#include <zephyr/bluetooth/hci.h>
#include <zephyr/sys/printk.h>

#include "ble_remote.h"
#include "spider_ble_protocol.h"
#include "spider_control.h"

static struct bt_uuid_128 spider_svc_uuid = BT_UUID_INIT_128(SPIDER_BLE_SVC_UUID_VAL);
static struct bt_uuid_128 spider_cmd_uuid = BT_UUID_INIT_128(SPIDER_BLE_CHR_CMD_UUID_VAL);

static ssize_t cmd_write(struct bt_conn *conn, const struct bt_gatt_attr *attr,
			 const void *buf, uint16_t len, uint16_t offset, uint8_t flags)
{
	ARG_UNUSED(conn);
	ARG_UNUSED(attr);
	ARG_UNUSED(flags);

	if (offset != 0U) {
		return BT_GATT_ERR(BT_ATT_ERR_INVALID_OFFSET);
	}

	/* 非法帧静默丢弃（玩具级，无 Notify） */
	(void)spider_control_ble_frame(buf, len);
	return len;
}

BT_GATT_SERVICE_DEFINE(spider_remote_svc,
	BT_GATT_PRIMARY_SERVICE(&spider_svc_uuid),
	BT_GATT_CHARACTERISTIC(&spider_cmd_uuid.uuid,
			       BT_GATT_CHRC_WRITE | BT_GATT_CHRC_WRITE_WITHOUT_RESP,
			       BT_GATT_PERM_WRITE,
			       NULL, cmd_write, NULL),
);

static const struct bt_data ad[] = {
	BT_DATA_BYTES(BT_DATA_FLAGS, (BT_LE_AD_GENERAL | BT_LE_AD_NO_BREDR)),
	BT_DATA(BT_DATA_NAME_COMPLETE, CONFIG_BT_DEVICE_NAME,
		sizeof(CONFIG_BT_DEVICE_NAME) - 1),
};

static void connected(struct bt_conn *conn, uint8_t err)
{
	if (err != 0U) {
		printk("BLE connect failed (err %u)\n", err);
	}
}

static void disconnected(struct bt_conn *conn, uint8_t reason)
{
	ARG_UNUSED(conn);
	printk("BLE disconnected (reason %u) -> auto stand\n", reason);
	spider_control_stop();
}

BT_CONN_CB_DEFINE(conn_callbacks) = {
	.connected = connected,
	.disconnected = disconnected,
};

static void bt_ready(int err)
{
	if (err != 0) {
		printk("Bluetooth init failed (err %d)\n", err);
		return;
	}

	printk("Bluetooth initialized (name: %s)\n", CONFIG_BT_DEVICE_NAME);

	err = bt_le_adv_start(BT_LE_ADV_CONN, ad, ARRAY_SIZE(ad), NULL, 0);
	if (err != 0) {
		printk("BLE advertising failed (err %d)\n", err);
		return;
	}

	printk("BLE advertising started (connectable)\n");
}

int spider_ble_init(void)
{
	return bt_enable(bt_ready);
}
```

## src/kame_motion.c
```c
/*
 * Kame 四足机器人 — Motion Framework 实现
 *
 * 步序表（motions[]）+ FSM 后台线程。每个 Motion 是一组 Step，
 * 每个 Step 由 build() 输出一个整机 Pose，线程按 motion_step_delay_ms 节拍推进。
 *
 * 步态说明（无 IK / 无轨迹规划，离散对角步态，参数可在硬件上微调）：
 *   对角腿配对：A = {L1, R2}，B = {R1, L2}
 *   4 拍循环：
 *     拍0  抬起 A，A 髋摆到「前」，B 落地，B 髋在「后」
 *     拍1  A 落地于前
 *     拍2  抬起 B，B 髋摆到「前」，A 落地，A 髋在「后」
 *     拍3  B 落地于前
 *   落地腿由「前」拖向「后」即为驱动行程，推动机身前进。
 *   每条腿一个方向系数 dir（+1/-1/0）即可派生 前进/后退/转向/原地旋转。
 *   外张偏置：前腿恒偏机身前、后腿恒偏机身后（GAIT_HIP_BIAS_DEG），摆动叠加其上，
 *   使同侧前后腿摆动窗口分处中线两侧、永不相向靠拢，避免前后腿互撞损坏舵机。
 */

#include <zephyr/kernel.h>
#include <ctype.h>

#include "kame_motion.h"
#include "kame_pose.h"

/* ASCII 大小写不敏感比较（避免依赖 strcasecmp 的 libc 实现差异） */
static bool ci_equal(const char *a, const char *b)
{
	if (a == NULL || b == NULL) {
		return false;
	}
	while (*a != '\0' && *b != '\0') {
		if (tolower((unsigned char)*a) != tolower((unsigned char)*b)) {
			return false;
		}
		a++;
		b++;
	}
	return *a == *b;
}

/* ---- 步态可调参数 ---- */
#define GAIT_HIP_DEG       20 /* 髋前后摆幅（单侧；以外张偏置为中心前后各摆该角） */
#define GAIT_HIP_BIAS_DEG  25 /* 外张偏置：前腿恒偏机身前、后腿恒偏机身后，
				 * 使同侧前后腿摆动窗口分处中线两侧，永不相向靠拢相撞。
				 * 需满足 BIAS > HIP_DEG，保证每腿始终停在中位自己一侧。 */
#define GAIT_LIFT_DEG  40 /* 摆动腿抬起量 */
#define ROLL_DEG       25 /* 横滚幅度 */
#define NOD_DEG        30 /* 点头(前腿膝)幅度 */
/* 摇头(前腿髋)幅度：前腿后摆时会靠近同侧后腿，靠拢量≈本值；
 * 实测碰撞阈值约 35°(左)/40°(右)，取 20° 留 ~15° 余量。 */
#define SHAKE_DEG      20 /* 摇头(前腿髋)幅度 */

/* ------------------------------------------------------------------ */
/* Step 构建：静态动作                                                 */
/* ------------------------------------------------------------------ */

static void step_stand(kame_leg_id_t leg, uint8_t step, kame_pose_t *p)
{
	ARG_UNUSED(leg); ARG_UNUSED(step);
	kame_pose_stand(p);
}

static void step_splay(kame_leg_id_t leg, uint8_t step, kame_pose_t *p)
{
	ARG_UNUSED(leg); ARG_UNUSED(step);
	kame_pose_splay(KAME_SPLAY_DELTA_DEG, p);
}

static void step_front_down(kame_leg_id_t leg, uint8_t step, kame_pose_t *p)
{
	ARG_UNUSED(leg); ARG_UNUSED(step);
	kame_pose_front_down(p);
}

static void step_rear_down(kame_leg_id_t leg, uint8_t step, kame_pose_t *p)
{
	ARG_UNUSED(leg); ARG_UNUSED(step);
	kame_pose_rear_down(p);
}

static void step_full_down(kame_leg_id_t leg, uint8_t step, kame_pose_t *p)
{
	ARG_UNUSED(leg); ARG_UNUSED(step);
	kame_pose_full_down(p);
}

/* ------------------------------------------------------------------ */
/* Step 构建：单腿动作（先进 TRIPOD，禁止直接抬腿）                    */
/* ------------------------------------------------------------------ */

/*
 * LIFT_LEG（静态动作，2 步，停在末态）：
 *   Step0 先进三脚架（支撑腿调整髋/膝形成稳定支撑，禁止直接抬腿）
 *   Step1 抬起目标腿，保持。
 * 跑完停在「抬腿」末态；结束请用 stop（恢复站立）或切换其他动作。
 */
static void step_lift_leg(kame_leg_id_t leg, uint8_t step, kame_pose_t *p)
{
	if (step == 0) {
		kame_pose_tripod(leg, p); /* Step0 稳定三脚架 */
	} else {
		kame_pose_lift(leg, p);   /* Step1 抬腿并保持 */
	}
}

/*
 * WAVE（循环动作）：目标腿膝关节贴近最高点往复摆动招手。
 * 支撑三腿始终保持 TRIPOD 稳定姿态；目标腿髋关节保持站立角不动，
 * 仅膝关节在各自「最高端」附近上下摆动，幅度 KAME_WAVE_KNEE_DEG：
 *   Step0 贴到最高端 / Step1 回落 KAME_WAVE_KNEE_DEG（循环）。
 * 例如 L1 膝(0~180°，180°最高)即在 (180-KAME_WAVE_KNEE_DEG)~180° 之间摆动。
 * 停止(stop)时直接恢复立正姿势。
 */
static void step_wave(kame_leg_id_t leg, uint8_t step, kame_pose_t *p)
{
	const struct kame_leg_map *X = kame_leg_get(leg);

	kame_pose_tripod(leg, p); /* 支撑三腿稳定；目标腿髋/膝暂为站立角 */

	int down = (step % 2U) == 0U
		   ? 0                   /* 贴到最高端 */
		   : KAME_WAVE_KNEE_DEG; /* 自最高端回落 */

	if (X != NULL) {
		p->deg[X->knee] = kame_servo_knee_top_deg(X->knee, down);
	}
}

/* ------------------------------------------------------------------ */
/* Step 构建：循环步态                                                 */
/* ------------------------------------------------------------------ */

/* 对角配对：A = {L1, R2} */
static inline bool leg_in_pair_a(int leg)
{
	return (leg == KAME_LEG_L1) || (leg == KAME_LEG_R2);
}

/*
 * 通用步态：dir[leg] 为各腿前进方向系数（+1 向前 / -1 向后 / 0 原地）。
 * 4 拍循环，A、B 两对交替抬腿—摆动—落地—驱动。
 */
static void gait_fill(kame_pose_t *p, uint8_t step, const int8_t dir[KAME_LEG_COUNT])
{
	kame_pose_stand(p);

	uint8_t ph = step % 4U;
	bool a_forward = (ph == 0U) || (ph == 1U);
	bool a_lift = (ph == 0U);
	bool b_lift = (ph == 2U);

	for (int i = 0; i < KAME_LEG_COUNT; i++) {
		const struct kame_leg_map *L = &kame_legs[i];
		bool in_a = leg_in_pair_a(i);
		bool forward = in_a ? a_forward : !a_forward;
		bool lift = in_a ? a_lift : b_lift;

		/* 外张偏置：前腿恒偏机身前、后腿恒偏机身后；摆动叠加其上。
		 * BIAS>HIP_DEG 保证前腿不越过中位向后、后腿不越过中位向前，
		 * 同侧前后腿摆动窗口分处中线两侧，避免相向靠拢相撞。 */
		int home = L->is_front ? GAIT_HIP_BIAS_DEG : -GAIT_HIP_BIAS_DEG;
		int swing = (forward ? GAIT_HIP_DEG : -GAIT_HIP_DEG) * dir[i];
		int hip_fwd = home + swing;

		p->deg[L->hip] = kame_servo_hip_forward_deg(L->hip, hip_fwd);
		if (lift) {
			p->deg[L->knee] =
				kame_servo_knee_up_deg(L->knee, GAIT_LIFT_DEG);
		}
	}
}

/* 各腿顺序：L1, R1, L2, R2 */
static const int8_t DIR_FORWARD[KAME_LEG_COUNT]    = { +1, +1, +1, +1 };
static const int8_t DIR_BACKWARD[KAME_LEG_COUNT]   = { -1, -1, -1, -1 };
static const int8_t DIR_SPIN_LEFT[KAME_LEG_COUNT]  = { -1, +1, -1, +1 }; /* 右侧向前/左侧向后 -> 左转 */
static const int8_t DIR_SPIN_RIGHT[KAME_LEG_COUNT] = { +1, -1, +1, -1 };
static const int8_t DIR_TURN_LEFT[KAME_LEG_COUNT]  = {  0, +1,  0, +1 }; /* 左侧原地、右侧前进 -> 弧线左转 */
static const int8_t DIR_TURN_RIGHT[KAME_LEG_COUNT] = { +1,  0, +1,  0 };

static void step_forward(kame_leg_id_t leg, uint8_t step, kame_pose_t *p)
{ ARG_UNUSED(leg); gait_fill(p, step, DIR_FORWARD); }
static void step_backward(kame_leg_id_t leg, uint8_t step, kame_pose_t *p)
{ ARG_UNUSED(leg); gait_fill(p, step, DIR_BACKWARD); }
static void step_turn_left(kame_leg_id_t leg, uint8_t step, kame_pose_t *p)
{ ARG_UNUSED(leg); gait_fill(p, step, DIR_TURN_LEFT); }
static void step_turn_right(kame_leg_id_t leg, uint8_t step, kame_pose_t *p)
{ ARG_UNUSED(leg); gait_fill(p, step, DIR_TURN_RIGHT); }
static void step_spin_left(kame_leg_id_t leg, uint8_t step, kame_pose_t *p)
{ ARG_UNUSED(leg); gait_fill(p, step, DIR_SPIN_LEFT); }
static void step_spin_right(kame_leg_id_t leg, uint8_t step, kame_pose_t *p)
{ ARG_UNUSED(leg); gait_fill(p, step, DIR_SPIN_RIGHT); }

/* ------------------------------------------------------------------ */
/* Step 构建：机身姿态摆动（循环）                                     */
/* ------------------------------------------------------------------ */

/* 横滚：sign>0 左侧膝抬/右侧膝压；sign<0 相反 */
static void roll_fill(kame_pose_t *p, int sign)
{
	kame_pose_stand(p);
	for (int i = 0; i < KAME_LEG_COUNT; i++) {
		const struct kame_leg_map *L = &kame_legs[i];
		int d = (L->is_left ? +ROLL_DEG : -ROLL_DEG) * sign;

		p->deg[L->knee] = kame_servo_knee_up_deg(L->knee, d);
	}
}

static void step_roll(kame_leg_id_t leg, uint8_t step, kame_pose_t *p)
{
	ARG_UNUSED(leg);
	roll_fill(p, (step % 2U) == 0U ? +1 : -1);
}

/* 点头：前腿膝关节上下往复 */
static void step_nod(kame_leg_id_t leg, uint8_t step, kame_pose_t *p)
{
	ARG_UNUSED(leg);
	kame_pose_stand(p);

	int d = (step % 2U) == 0U ? +NOD_DEG : -NOD_DEG;

	for (int i = 0; i < KAME_LEG_COUNT; i++) {
		const struct kame_leg_map *L = &kame_legs[i];

		if (L->is_front) {
			p->deg[L->knee] = kame_servo_knee_up_deg(L->knee, d);
		}
	}
}

/* 摇头：两前腿髋关节反向往复（机身前部偏摆） */
static void step_shake(kame_leg_id_t leg, uint8_t step, kame_pose_t *p)
{
	ARG_UNUSED(leg);
	kame_pose_stand(p);

	int sign = (step % 2U) == 0U ? +1 : -1;

	for (int i = 0; i < KAME_LEG_COUNT; i++) {
		const struct kame_leg_map *L = &kame_legs[i];

		if (L->is_front) {
			int d = (L->is_left ? +SHAKE_DEG : -SHAKE_DEG) * sign;

			p->deg[L->hip] = kame_servo_hip_forward_deg(L->hip, d);
		}
	}
}

/* ------------------------------------------------------------------ */
/* Motion 步序表                                                       */
/* ------------------------------------------------------------------ */

typedef void (*kame_step_fn)(kame_leg_id_t leg, uint8_t step, kame_pose_t *out);

typedef struct {
	const char *name;
	bool cyclic;
	bool needs_leg;
	uint8_t steps;
	kame_step_fn build;
} kame_motion_def_t;

static const kame_motion_def_t motions[KAME_MOTION_COUNT] = {
	[KAME_MOTION_STAND]      = {"stand",      false, false, 1, step_stand},
	[KAME_MOTION_SPLAY]      = {"splay",      false, false, 1, step_splay},
	[KAME_MOTION_LIFT_LEG]   = {"lift",       false, true,  2, step_lift_leg},
	[KAME_MOTION_FRONT_DOWN] = {"front_down", false, false, 1, step_front_down},
	[KAME_MOTION_REAR_DOWN]  = {"rear_down",  false, false, 1, step_rear_down},
	[KAME_MOTION_FULL_DOWN]  = {"full_down",  false, false, 1, step_full_down},

	[KAME_MOTION_FORWARD]    = {"forward",    true,  false, 4, step_forward},
	[KAME_MOTION_BACKWARD]   = {"backward",   true,  false, 4, step_backward},
	[KAME_MOTION_TURN_LEFT]  = {"turn_left",  true,  false, 4, step_turn_left},
	[KAME_MOTION_TURN_RIGHT] = {"turn_right", true,  false, 4, step_turn_right},
	[KAME_MOTION_SPIN_LEFT]  = {"spin_left",  true,  false, 4, step_spin_left},
	[KAME_MOTION_SPIN_RIGHT] = {"spin_right", true,  false, 4, step_spin_right},
	[KAME_MOTION_NOD]        = {"nod",        true,  false, 2, step_nod},
	[KAME_MOTION_SHAKE]      = {"shake",      true,  false, 2, step_shake},
	[KAME_MOTION_ROLL]       = {"roll",       true,  false, 2, step_roll},
	[KAME_MOTION_WAVE]       = {"wave",       true,  true,  2, step_wave},
};

/* ------------------------------------------------------------------ */
/* FSM 状态 + 后台线程                                                 */
/* ------------------------------------------------------------------ */

static uint32_t motion_step_delay_ms = KAME_MOTION_DEFAULT_DELAY_MS;

static struct {
	kame_motion_id_t id;
	kame_leg_id_t leg;
	uint8_t step;
	uint32_t generation; /* 每次请求/停止递增，用于打断当前 Motion */
	bool active;
} st = {
	.id = KAME_MOTION_NONE,
	.leg = KAME_LEG_NONE,
	.active = false,
};

static K_MUTEX_DEFINE(st_mtx);
static K_SEM_DEFINE(motion_wake, 0, 1);

/* motion_enter：复位到 Step0 并唤醒线程 */
void kame_motion_request(kame_motion_id_t id, kame_leg_id_t leg)
{
	if ((unsigned int)id >= KAME_MOTION_COUNT) {
		return;
	}

	k_mutex_lock(&st_mtx, K_FOREVER);
	st.id = id;
	st.leg = leg;
	st.step = 0;
	st.active = true;
	st.generation++;
	k_mutex_unlock(&st_mtx);

	k_sem_give(&motion_wake);
}

/* motion_exit：停止推进，停在当前姿态 */
void kame_motion_stop(void)
{
	k_mutex_lock(&st_mtx, K_FOREVER);
	st.active = false;
	st.generation++;
	k_mutex_unlock(&st_mtx);

	k_sem_give(&motion_wake);
}

void kame_motion_set_delay(uint32_t ms)
{
	k_mutex_lock(&st_mtx, K_FOREVER);
	motion_step_delay_ms = ms;
	k_mutex_unlock(&st_mtx);
}

uint32_t kame_motion_get_delay(void)
{
	uint32_t ms;

	k_mutex_lock(&st_mtx, K_FOREVER);
	ms = motion_step_delay_ms;
	k_mutex_unlock(&st_mtx);
	return ms;
}

static void motion_thread(void *a, void *b, void *c)
{
	ARG_UNUSED(a); ARG_UNUSED(b); ARG_UNUSED(c);

	for (;;) {
		k_mutex_lock(&st_mtx, K_FOREVER);
		bool active = st.active;
		uint32_t gen = st.generation;
		kame_motion_id_t id = st.id;
		kame_leg_id_t leg = st.leg;
		uint8_t step = st.step;
		uint32_t delay = motion_step_delay_ms;
		k_mutex_unlock(&st_mtx);

		/* 空闲：阻塞等待下一个 Motion 请求 */
		if (!active || (unsigned int)id >= KAME_MOTION_COUNT) {
			k_sem_take(&motion_wake, K_FOREVER);
			continue;
		}

		const kame_motion_def_t *m = &motions[id];

		/* 序列结束处理：循环动作回到 Step0；静态动作停在末态 */
		if (step >= m->steps) {
			if (m->cyclic) {
				step = 0;
			} else {
				k_mutex_lock(&st_mtx, K_FOREVER);
				if (st.generation == gen) {
					st.active = false;
				}
				k_mutex_unlock(&st_mtx);
				continue;
			}
		}

		/* motion_step：构建当前 Step 的 Pose 并下发 */
		kame_pose_t pose;

		m->build(leg, step, &pose);
		kame_pose_apply(&pose);

		/* 推进 step（若期间未被新请求打断） */
		k_mutex_lock(&st_mtx, K_FOREVER);
		if (st.generation == gen) {
			st.step = step + 1U;
		}
		k_mutex_unlock(&st_mtx);

		/* 等待一个节拍；收到新请求/停止则提前唤醒并重新评估状态 */
		k_sem_take(&motion_wake, K_MSEC(delay));
	}
}

K_THREAD_DEFINE(kame_motion_tid, 1536, motion_thread, NULL, NULL, NULL, 6, 0, 0);

/* ------------------------------------------------------------------ */
/* 查询                                                                */
/* ------------------------------------------------------------------ */

const char *kame_motion_name(kame_motion_id_t id)
{
	if ((unsigned int)id >= KAME_MOTION_COUNT) {
		return "?";
	}
	return motions[id].name;
}

kame_motion_id_t kame_motion_from_name(const char *name)
{
	if (name == NULL) {
		return KAME_MOTION_NONE;
	}
	for (int i = 0; i < KAME_MOTION_COUNT; i++) {
		if (ci_equal(name, motions[i].name)) {
			return (kame_motion_id_t)i;
		}
	}
	return KAME_MOTION_NONE;
}

bool kame_motion_needs_leg(kame_motion_id_t id)
{
	if ((unsigned int)id >= KAME_MOTION_COUNT) {
		return false;
	}
	return motions[id].needs_leg;
}

bool kame_motion_is_cyclic(kame_motion_id_t id)
{
	if ((unsigned int)id >= KAME_MOTION_COUNT) {
		return false;
	}
	return motions[id].cyclic;
}
```

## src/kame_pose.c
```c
/*
 * Kame 四足机器人 — Pose（静态姿态）实现
 *
 * 全部姿态都以 kame_servo_cal 中的标定角为基准，通过
 * kame_servo_hip_forward_deg()/kame_servo_knee_up_deg() 做定向偏移，
 * 因此不依赖任何 PCA9685 通道号，方向差异由标定标志位自动处理。
 */

#include <ctype.h>
#include <string.h>

#include "kame_pose.h"

/* ASCII 大小写不敏感比较（避免依赖 strcasecmp 的 libc 实现差异） */
static bool ci_equal(const char *a, const char *b)
{
	if (a == NULL || b == NULL) {
		return false;
	}
	while (*a != '\0' && *b != '\0') {
		if (tolower((unsigned char)*a) != tolower((unsigned char)*b)) {
			return false;
		}
		a++;
		b++;
	}
	return *a == *b;
}

/* ------------------------------------------------------------------ */
/* 腿映射表                                                            */
/* ------------------------------------------------------------------ */

const struct kame_leg_map kame_legs[KAME_LEG_COUNT] = {
	[KAME_LEG_L1] = {"L1", KAME_SERVO_L1_HIP, KAME_SERVO_L1_KNEE, true,  true},
	[KAME_LEG_R1] = {"R1", KAME_SERVO_R1_HIP, KAME_SERVO_R1_KNEE, true,  false},
	[KAME_LEG_L2] = {"L2", KAME_SERVO_L2_HIP, KAME_SERVO_L2_KNEE, false, true},
	[KAME_LEG_R2] = {"R2", KAME_SERVO_R2_HIP, KAME_SERVO_R2_KNEE, false, false},
};

const struct kame_leg_map *kame_leg_get(kame_leg_id_t leg)
{
	if ((unsigned int)leg >= KAME_LEG_COUNT) {
		return NULL;
	}
	return &kame_legs[leg];
}

kame_leg_id_t kame_leg_from_name(const char *s)
{
	if (s == NULL) {
		return KAME_LEG_NONE;
	}
	for (int i = 0; i < KAME_LEG_COUNT; i++) {
		if (ci_equal(s, kame_legs[i].name)) {
			return (kame_leg_id_t)i;
		}
	}
	return KAME_LEG_NONE;
}

/* ------------------------------------------------------------------ */
/* 基础姿态                                                            */
/* ------------------------------------------------------------------ */

void kame_pose_stand(kame_pose_t *out)
{
	for (kame_servo_id_t id = 0; id < KAME_SERVO_COUNT; id++) {
		out->deg[id] = kame_servos[id].stand_deg;
	}
}

void kame_pose_splay(uint8_t delta, kame_pose_t *out)
{
	for (kame_servo_id_t id = 0; id < KAME_SERVO_COUNT; id++) {
		out->deg[id] = kame_servo_splay_deg(id, delta);
	}
}

/*
 * 趴下姿态：把指定腿的膝关节向最高方向收起 KAME_DOWN_KNEE_DEG，
 * 使对应身体部分落下（前/后/全部）。髋关节保持站立角。
 */
static void pose_down(bool front, bool rear, kame_pose_t *out)
{
	kame_pose_stand(out);

	for (int i = 0; i < KAME_LEG_COUNT; i++) {
		const struct kame_leg_map *L = &kame_legs[i];
		bool sel = (L->is_front && front) || (!L->is_front && rear);

		if (sel) {
			out->deg[L->knee] =
				kame_servo_knee_up_deg(L->knee, KAME_DOWN_KNEE_DEG);
		}
	}
}

void kame_pose_front_down(kame_pose_t *out) { pose_down(true, false, out); }
void kame_pose_rear_down(kame_pose_t *out)  { pose_down(false, true, out); }
void kame_pose_full_down(kame_pose_t *out)  { pose_down(true, true, out); }

/* ------------------------------------------------------------------ */
/* 三脚架 / 抬腿                                                       */
/* ------------------------------------------------------------------ */

/*
 * 三脚架：要抬 lift_leg，需把重心移到其余三条腿构成的支撑三角内（远离 lift_leg）。
 *
 * 主手段——调整三条支撑腿的【髋关节】平移机身重心：
 *   四脚着地时旋转髋关节会让机身相对脚掌前后平移。
 *   - 抬前腿(L1/R1)：三条支撑腿髋向「前」转 -> 机身后移 -> 重心落入后侧支撑三角；
 *   - 抬后腿(L2/R2)：三条支撑腿髋向「后」转 -> 机身前移 -> 重心落入前侧支撑三角。
 *   KAME_TRIPOD_HIP_DEG 为可调平移量。
 *
 * 辅助手段——【膝关节】做左右侧倾，把重心移离抬起腿：
 *   对侧两条支撑腿压腿(伸展)抬高该侧机身；同侧唯一支撑腿略收腿降低该侧。
 *   二者配合把重心推入 {R1,L2,R2} 等支撑三角内。KAME_TRIPOD_LEAN_DEG 为倾斜量。
 *
 * 目标腿 lift_leg 本身保持站立角（尚未抬起），抬腿在 kame_pose_lift() 中进行。
 */
void kame_pose_tripod(kame_leg_id_t lift_leg, kame_pose_t *out)
{
	kame_pose_stand(out);

	const struct kame_leg_map *X = kame_leg_get(lift_leg);

	if (X == NULL) {
		return; /* 非法腿：退化为标准站姿 */
	}

	/* 抬前腿 -> 机身后移(支撑腿髋向前)；抬后腿 -> 机身前移(支撑腿髋向后) */
	int hip_fwd = X->is_front ? KAME_TRIPOD_HIP_DEG : -KAME_TRIPOD_HIP_DEG;

	for (int i = 0; i < KAME_LEG_COUNT; i++) {
		if (i == (int)lift_leg) {
			continue; /* 目标腿保持站立角，下一步再抬 */
		}

		const struct kame_leg_map *L = &kame_legs[i];

		/* 主：调整支撑腿髋关节平移重心，让其余三腿更稳定 */
		out->deg[L->hip] = kame_servo_hip_forward_deg(L->hip, hip_fwd);

		/* 辅：对侧压腿抬高、同侧略收腿，横向把重心推离抬起腿 */
		if (L->is_left != X->is_left) {
			out->deg[L->knee] =
				kame_servo_knee_up_deg(L->knee, -KAME_TRIPOD_LEAN_DEG);
		} else {
			out->deg[L->knee] =
				kame_servo_knee_up_deg(L->knee, KAME_TRIPOD_LEAN_DEG);
		}
	}
}

void kame_pose_lift(kame_leg_id_t lift_leg, kame_pose_t *out)
{
	kame_pose_tripod(lift_leg, out);

	const struct kame_leg_map *X = kame_leg_get(lift_leg);

	if (X == NULL) {
		return;
	}
	out->deg[X->knee] = kame_servo_knee_up_deg(X->knee, KAME_LIFT_KNEE_DEG);
}

/* ------------------------------------------------------------------ */
/* 分发 / 下发                                                         */
/* ------------------------------------------------------------------ */

void kame_pose_build(kame_pose_id_t id, kame_pose_t *out)
{
	switch (id) {
	case KAME_POSE_STAND:      kame_pose_stand(out); break;
	case KAME_POSE_SPLAY:      kame_pose_splay(KAME_SPLAY_DELTA_DEG, out); break;
	case KAME_POSE_FRONT_DOWN: kame_pose_front_down(out); break;
	case KAME_POSE_REAR_DOWN:  kame_pose_rear_down(out); break;
	case KAME_POSE_FULL_DOWN:  kame_pose_full_down(out); break;
	default:                   kame_pose_stand(out); break;
	}
}

void kame_pose_apply(const kame_pose_t *p)
{
	for (kame_servo_id_t id = 0; id < KAME_SERVO_COUNT; id++) {
		if (p->deg[id] == KAME_POSE_KEEP) {
			continue;
		}
		kame_servo_apply(id, p->deg[id]);
	}
}
```
